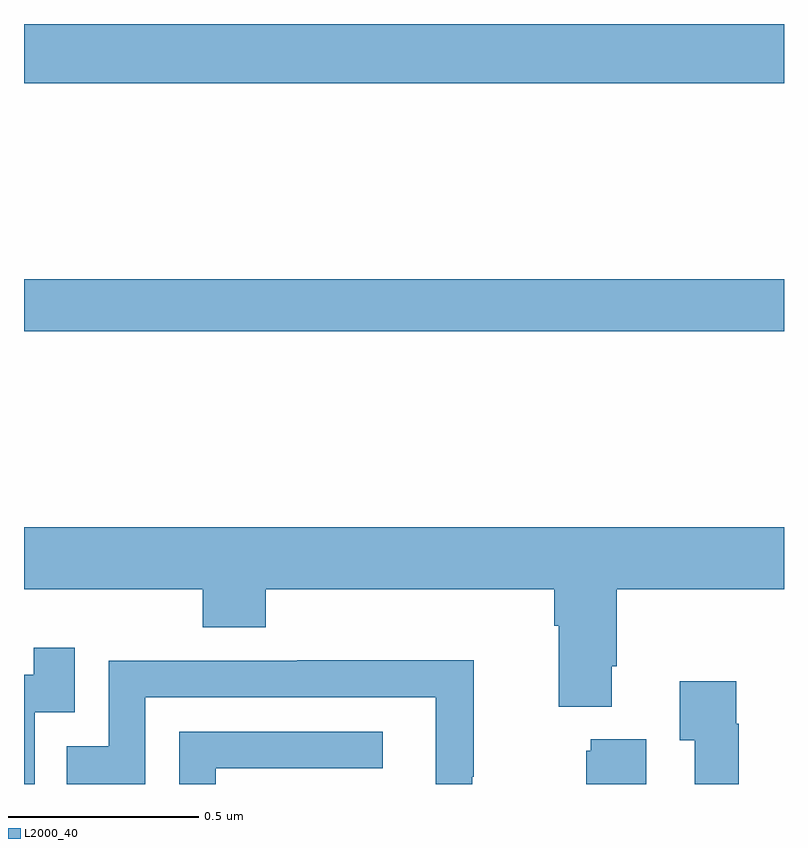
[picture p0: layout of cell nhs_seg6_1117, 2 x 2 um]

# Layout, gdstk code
import gdstk
lib = gdstk.Library(unit=1e-6, precision=1e-09)
def R(c, l, rs):  # rectangles x0, y0, x1, y1
    for r in rs: c.add(gdstk.rectangle(r[:2], r[2:], *l))
def P(c, l, *ps):  # polygons
    for p in ps: c.add(gdstk.Polygon(p, *l))
L2000_40 = (2000, 40)

nhs_seg6_1117 = lib.new_cell('nhs_seg6_1117')
R(nhs_seg6_1117, L2000_40, [(125,938.692,127,938.828), (125,939.344,127,939.5)])
P(nhs_seg6_1117, L2000_40, [(126.547,937.81),(126.56,937.81),(126.56,938.012),(127,938.012),(127,938.176),(125,938.176),(125,938.012),(125.471,938.012),(125.471,937.913),(125.636,937.913),(125.636,938.012),(126.395,938.012),(126.395,937.916),(126.407,937.916),(126.407,937.703),(126.547,937.703)],
  [(125.028,937.689),(125.133,937.689),(125.133,937.858),(125.025,937.858),(125.025,937.788),(125,937.788),(125,937.5),(125.028,937.5)],
  [(125.319,937.728),(126.083,937.728),(126.083,937.5),(126.18,937.5),(126.18,937.519),(126.183,937.519),(126.183,937.826),(125.719,937.826),(125.719,937.824),(125.223,937.824),(125.223,937.599),(125.113,937.599),(125.113,937.5),(125.319,937.5)],
  [(126.881,937.658),(126.874,937.658),(126.874,937.771),(126.725,937.771),(126.725,937.615),(126.765,937.615),(126.765,937.5),(126.881,937.5)],
  [(125.505,937.542),(125.944,937.542),(125.944,937.638),(125.409,937.638),(125.409,937.5),(125.505,937.5)],
  [(126.637,937.618),(126.491,937.618),(126.491,937.587),(126.479,937.587),(126.479,937.5),(126.637,937.5)])

lib.write_gds('nhs_seg6_1117.gds')
